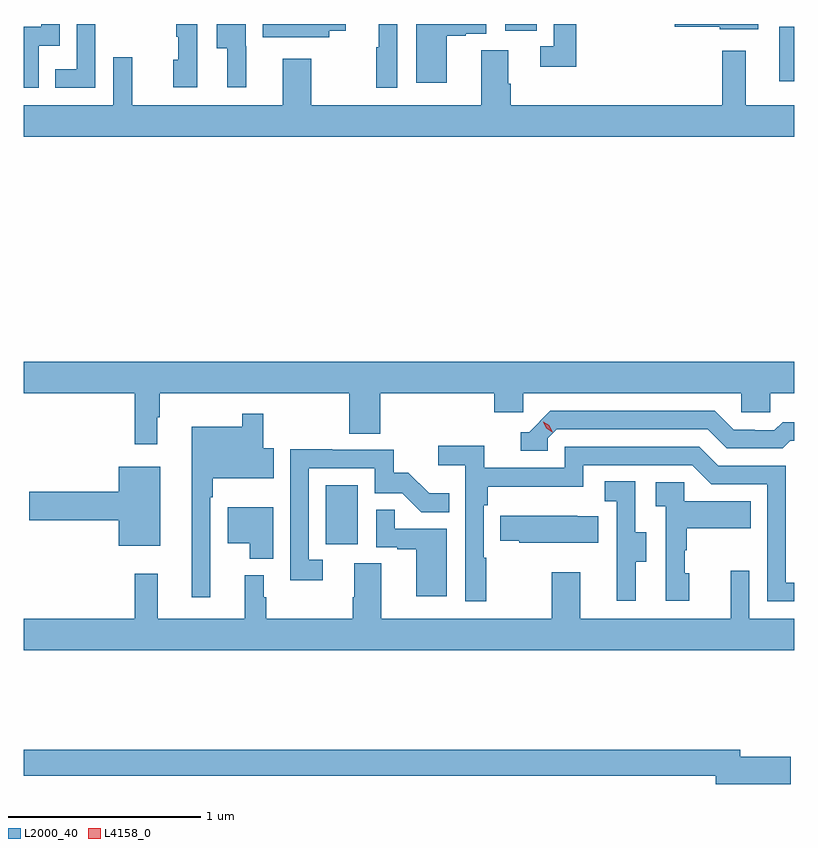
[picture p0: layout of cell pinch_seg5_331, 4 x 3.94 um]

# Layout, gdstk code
import gdstk
lib = gdstk.Library(unit=1e-6, precision=1e-09)
def R(c, l, rs):  # rectangles x0, y0, x1, y1
    for r in rs: c.add(gdstk.rectangle(r[:2], r[2:], *l))
def P(c, l, *ps):  # polygons
    for p in ps: c.add(gdstk.Polygon(p, *l))
L2000_40 = (2000, 40)
L4158_0 = (4158, 0)

pinch_seg5_331 = lib.new_cell('pinch_seg5_331')
R(pinch_seg5_331, L2000_40, [(934.994,883.95,935.158,884.257), (937.346,886.353,937.425,886.635), (935.924,886.614,936.088,886.649)])
P(pinch_seg5_331, L2000_40, [(935.364,886.649),(935.267,886.649),(935.267,886.529),(935.256,886.529),(935.256,886.317),(935.364,886.317)],
  [(933.798,886.649),(933.702,886.649),(933.702,886.413),(933.589,886.413),(933.589,886.317),(933.798,886.317)],
  [(934.58,886.533),(934.578,886.533),(934.578,886.649),(934.427,886.649),(934.427,886.522),(934.481,886.522),(934.481,886.32),(934.58,886.32)],
  [(933.504,886.536),(933.612,886.536),(933.612,886.649),(933.516,886.649),(933.516,886.634),(933.425,886.634),(933.425,886.317),(933.504,886.317)],
  [(935.011,886.615),(935.098,886.615),(935.098,886.649),(934.667,886.649),(934.667,886.58),(935.011,886.58)],
  [(935.62,886.587),(935.72,886.587),(935.72,886.599),(935.826,886.599),(935.826,886.649),(935.462,886.649),(935.462,886.344),(935.62,886.344)],
  [(937.237,886.649),(936.804,886.649),(936.804,886.636),(937.038,886.636),(937.038,886.622),(937.237,886.622)],
  [(934.326,886.649),(934.218,886.649),(934.218,886.583),(934.228,886.583),(934.228,886.464),(934.202,886.464),(934.202,886.32),(934.326,886.32)],
  [(936.293,886.649),(936.177,886.649),(936.177,886.533),(936.105,886.533),(936.105,886.428),(936.293,886.428)],
  [(935.801,886.514),(935.801,886.228),(934.917,886.228),(934.917,886.468),(934.769,886.468),(934.769,886.228),(933.989,886.228),(933.989,886.477),(933.891,886.477),(933.891,886.228),(933.425,886.228),(933.425,886.064),(937.425,886.064),(937.425,886.228),(937.171,886.228),(937.171,886.51),(937.05,886.51),(937.05,886.228),(935.954,886.228),(935.954,886.34),(935.941,886.34),(935.941,886.514)],
  [(934.12,884.609),(934.132,884.609),(934.132,884.732),(935.116,884.732),(935.116,884.524),(935.276,884.524),(935.276,884.732),(935.867,884.732),(935.867,884.634),(936.018,884.634),(936.018,884.732),(937.149,884.732),(937.149,884.634),(937.299,884.634),(937.299,884.732),(937.425,884.732),(937.425,884.896),(933.425,884.896),(933.425,884.732),(934.003,884.732),(934.003,884.469),(934.12,884.469)],
  [(936.144,884.499),(936.192,884.547),(936.975,884.547),(937.074,884.448),(937.363,884.448),(937.402,884.487),(937.425,884.487),(937.425,884.584),(937.363,884.584),(937.321,884.541),(937.218,884.541),(937.218,884.544),(937.111,884.544),(937.012,884.643),(936.159,884.643),(936.048,884.532),(936.005,884.532),(936.005,884.436),(936.144,884.436)],
  [(934.395,884.195),(934.408,884.195),(934.408,884.291),(934.723,884.291),(934.723,884.449),(934.669,884.449),(934.669,884.626),(934.56,884.626),(934.56,884.56),(934.298,884.56),(934.298,883.674),(934.395,883.674)],
  [(935.827,883.88),(935.814,883.88),(935.814,884.153),(935.834,884.153),(935.834,884.249),(936.33,884.249),(936.33,884.361),(936.894,884.361),(936.993,884.262),(937.284,884.262),(937.284,883.653),(937.425,883.653),(937.425,883.749),(937.38,883.749),(937.38,884.358),(937.03,884.358),(936.931,884.457),(936.234,884.457),(936.234,884.346),(935.816,884.346),(935.816,884.462),(935.577,884.462),(935.577,884.36),(935.718,884.36),(935.718,883.653),(935.827,883.653)],
  [(934.978,883.869),(934.905,883.869),(934.905,884.343),(935.247,884.343),(935.247,884.214),(935.391,884.214),(935.489,884.116),(935.633,884.116),(935.633,884.215),(935.529,884.215),(935.422,884.322),(935.346,884.322),(935.346,884.439),(935.027,884.439),(935.027,884.444),(934.809,884.444),(934.809,883.764),(934.978,883.764)],
  [(934.135,884.353),(933.92,884.353),(933.92,884.222),(933.456,884.222),(933.456,884.075),(933.92,884.075),(933.92,883.943),(934.135,883.943)],
  [(936.601,883.858),(936.655,883.858),(936.655,884.013),(936.6,884.013),(936.6,884.276),(936.441,884.276),(936.441,884.173),(936.504,884.173),(936.504,883.869),(936.503,883.869),(936.503,883.656),(936.601,883.656)],
  [(936.88,883.8),(936.855,883.8),(936.855,883.919),(936.865,883.919),(936.865,884.033),(937.199,884.033),(937.199,884.173),(936.852,884.173),(936.852,884.271),(936.705,884.271),(936.705,884.147),(936.756,884.147),(936.756,883.656),(936.88,883.656)],
  [(934.72,884.143),(934.484,884.143),(934.484,883.955),(934.598,883.955),(934.598,883.874),(934.72,883.874)],
  [(935.62,884.031),(935.351,884.031),(935.351,884.129),(935.256,884.129),(935.256,883.935),(935.363,883.935),(935.363,883.923),(935.462,883.923),(935.462,883.68),(935.62,883.68)],
  [(936.407,884.095),(936.299,884.095),(936.299,884.098),(935.899,884.098),(935.899,883.969),(935.997,883.969),(935.997,883.958),(936.407,883.958)],
  [(937.425,883.564),(937.191,883.564),(937.191,883.813),(937.094,883.813),(937.094,883.564),(936.313,883.564),(936.313,883.804),(936.166,883.804),(936.166,883.564),(935.281,883.564),(935.281,883.85),(935.141,883.85),(935.141,883.676),(935.134,883.676),(935.134,883.564),(934.684,883.564),(934.684,883.676),(934.672,883.676),(934.672,883.789),(934.574,883.789),(934.574,883.564),(934.121,883.564),(934.121,883.798),(934.003,883.798),(934.003,883.564),(933.425,883.564),(933.425,883.4),(937.425,883.4)],
  [(937.405,882.848),(937.144,882.848),(937.144,882.884),(933.425,882.884),(933.425,882.748),(937.016,882.748),(937.016,882.706),(937.405,882.706)])
P(pinch_seg5_331, L4158_0, [(936.167,884.532),(936.137,884.552),(936.121,884.585),(936.121,884.586),(936.122,884.586),(936.152,884.566),(936.167,884.533),(936.167,884.532)])

lib.write_gds('pinch_seg5_331.gds')
